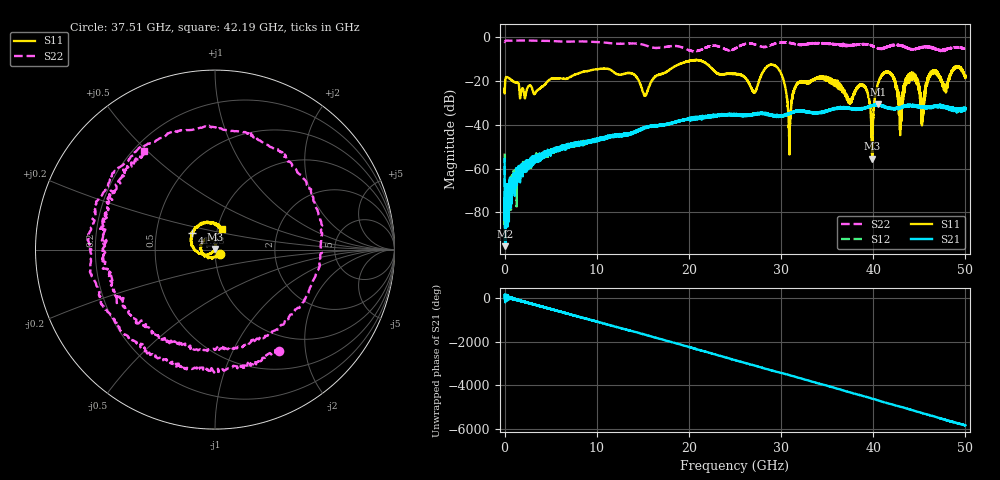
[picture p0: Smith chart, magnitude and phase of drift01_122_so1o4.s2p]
!Created with skrf (http://scikit-rf.org).
# Hz S RI R 50.0
!freq ReS11 ImS11 ReS21 ImS21 ReS12 ImS12 ReS22 ImS22
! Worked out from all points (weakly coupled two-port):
!   10001 points, 300 kHz to 50 GHz, reference 50 ohm
!   highest |S21| = -30.46 dB at 40.52 GHz (marker M1); lowest = -95.5 dB at 60.3 MHz (marker M2)
!   lowest |S11| = -55.4 dB at 39.89 GHz (marker M3), VSWR 1.00, Z = 49.9 + j0.0982 ohm
!   |S11| at or under -10 dB: start of sweep to end of sweep
!   |S22| runs from -6.4 to -1.4 dB; largest |S21 - S12| = 0.0037
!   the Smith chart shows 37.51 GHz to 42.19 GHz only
!   S11 on the Smith chart (normalised r, x): 37.51 GHz: 1.05, -0.05; 41.23 GHz: 0.76, +0.15; 42.19 GHz: 1.06, +0.24
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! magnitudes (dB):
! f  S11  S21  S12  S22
! 300 kHz  -23.4  -55.6  -53.1  -2.1
! 60.3 MHz  -20.0  -95.5  -75.3  -1.6
! 8.335 GHz  -15.9  -47.8  -48.0  -1.8
! 16.67 GHz  -17.1  -40.2  -40.2  -4.8
! 25 GHz  -16.6  -35.2  -35.3  -5.1
! 27.1 GHz  -25.2  -35.3  -35.3  -3.1
! 29.44 GHz  -13.1  -35.9  -36.0  -2.7
! 30.92 GHz  -52.2  -35.0  -34.6  -2.5
! 31.68 GHz  -21.5  -33.7  -33.7  -3.1
! 33.34 GHz  -19.6  -34.1  -34.3  -2.7
! 37.51 GHz  -28.8  -32.4  -32.4  -3.5
! 38.97 GHz  -22.0  -32.5  -32.5  -3.2
! 39.89 GHz  -55.4  -31.0  -31.1  -3.8
! 40.52 GHz  -21.1  -30.5  -30.8  -5.0
! 41.23 GHz  -16.0  -31.9  -31.8  -4.5
! 41.67 GHz  -15.9  -32.2  -32.4  -4.3
! 42.19 GHz  -18.5  -32.5  -32.6  -3.4
! 42.95 GHz  -36.3  -32.1  -31.9  -3.6
! 43.97 GHz  -17.0  -31.2  -31.2  -5.3
! 45.32 GHz  -37.7  -31.4  -32.0  -4.4
! 46.41 GHz  -15.3  -31.3  -31.6  -4.6
! 50 GHz  -17.5  -32.4  -32.5  -5.3
